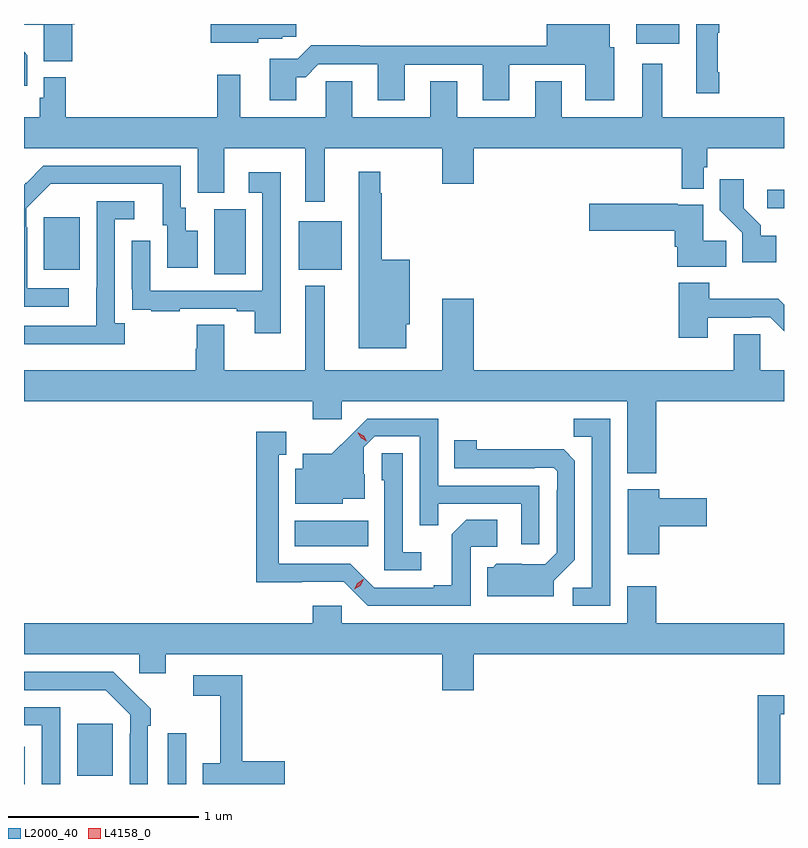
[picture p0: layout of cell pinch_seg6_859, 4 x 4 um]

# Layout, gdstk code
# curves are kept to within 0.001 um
import gdstk
lib = gdstk.Library(unit=1e-6, precision=1e-09)
def R(c, l, rs):  # rectangles x0, y0, x1, y1
    for r in rs: c.add(gdstk.rectangle(r[:2], r[2:], *l))
def P(c, l, *ps):  # polygons
    for p in ps: c.add(gdstk.Polygon(p, *l))
L2000_40 = (2000, 40)
L4158_0 = (4158, 0)

pinch_seg6_859 = lib.new_cell('pinch_seg6_859')
R(pinch_seg6_859, L2000_40, [(138.83,917.35,138.834,917.545), (139.587,917.35,139.683,917.617), (139.109,917.393,139.297,917.668), (140.255,918.602,140.642,918.736), (139.832,920.032,139.996,920.376), (138.935,920.057,139.123,920.332), (140.276,920.057,140.503,920.311), (142.743,920.379,142.83,920.478), (142.052,921.245,142.279,921.35)])
P(pinch_seg6_859, L2000_40, [(139.085,921.348),(139.097,921.348),(139.097,921.35),(138.83,921.35),(138.83,921.346),(138.935,921.346),(138.935,921.155),(139.085,921.155)],
  [(140.064,921.272),(140.19,921.272),(140.19,921.283),(140.263,921.283),(140.263,921.35),(139.814,921.35),(139.814,921.251),(140.064,921.251)],
  [(140.263,921.071),(140.312,921.071),(140.379,921.138),(140.693,921.138),(140.693,920.949),(140.833,920.949),(140.833,921.135),(141.245,921.135),(141.245,920.949),(141.385,920.949),(141.385,921.135),(141.785,921.135),(141.785,920.949),(141.937,920.949),(141.937,921.228),(141.913,921.228),(141.913,921.35),(141.581,921.35),(141.581,921.236),(140.597,921.236),(140.597,921.239),(140.342,921.239),(140.271,921.168),(140.123,921.168),(140.123,920.949),(140.263,920.949)],
  [(142.489,921.097),(142.481,921.097),(142.481,921.303),(142.489,921.303),(142.489,921.35),(142.367,921.35),(142.367,920.985),(142.489,920.985)],
  [(138.848,921.186),(138.83,921.204),(138.83,921.024),(138.848,921.024)],
  [(140.413,920.696),(141.032,920.696),(141.032,920.508),(141.196,920.508),(141.196,920.696),(142.291,920.696),(142.291,920.483),(142.407,920.483),(142.407,920.595),(142.427,920.595),(142.427,920.696),(142.83,920.696),(142.83,920.86),(142.189,920.86),(142.189,921.142),(142.085,921.142),(142.085,920.86),(141.661,920.86),(141.661,921.05),(141.521,921.05),(141.521,920.86),(141.109,920.86),(141.109,921.05),(140.969,921.05),(140.969,920.86),(140.557,920.86),(140.557,921.05),(140.418,921.05),(140.418,920.86),(139.969,920.86),(139.969,921.082),(139.848,921.082),(139.848,920.86),(139.049,920.86),(139.049,921.07),(138.933,921.07),(138.933,920.961),(138.913,920.961),(138.913,920.86),(138.83,920.86),(138.83,920.696),(139.745,920.696),(139.745,920.461),(139.885,920.461),(139.885,920.696),(140.309,920.696),(140.309,920.415),(140.413,920.415)],
  [(139.066,919.959),(138.846,919.959),(138.846,920.279),(138.843,920.279),(138.843,920.379),(138.972,920.508),(139.559,920.508),(139.559,920.292),(139.583,920.292),(139.583,920.067),(139.744,920.067),(139.744,920.263),(139.681,920.263),(139.681,920.382),(139.656,920.382),(139.656,920.604),(138.932,920.604),(138.841,920.513),(138.84,920.514),(138.83,920.504),(138.83,919.863),(139.066,919.863)],
  [(140.842,919.77),(140.86,919.77),(140.86,920.11),(140.713,920.11),(140.713,920.459),(140.705,920.459),(140.705,920.572),(140.591,920.572),(140.591,919.643),(140.842,919.643)],
  [(140.181,920.569),(140.013,920.569),(140.013,920.463),(140.085,920.463),(140.085,919.947),(139.494,919.947),(139.494,920.209),(139.398,920.209),(139.398,919.954),(139.399,919.954),(139.399,919.845),(139.501,919.845),(139.501,919.839),(139.649,919.839),(139.649,919.851),(139.949,919.851),(139.949,919.839),(140.045,919.839),(140.045,919.722),(140.181,919.722)],
  [(142.789,920.236),(142.708,920.236),(142.708,920.291),(142.618,920.381),(142.618,920.533),(142.492,920.533),(142.492,920.37),(142.611,920.251),(142.611,920.096),(142.789,920.096)],
  [(139.36,919.774),(139.308,919.774),(139.308,920.322),(139.411,920.322),(139.411,920.418),(139.212,920.418),(139.212,919.961),(139.211,919.961),(139.211,919.761),(138.83,919.761),(138.83,919.664),(139.36,919.664)],
  [(142.526,920.21),(142.405,920.21),(142.405,920.398),(142.272,920.398),(142.272,920.403),(141.804,920.403),(141.804,920.261),(142.256,920.261),(142.256,920.177),(142.268,920.177),(142.268,920.072),(142.526,920.072)],
  [(142.429,919.803),(142.658,919.803),(142.658,919.806),(142.758,919.806),(142.83,919.734),(142.83,919.872),(142.799,919.903),(142.437,919.903),(142.437,919.987),(142.277,919.987),(142.277,919.698),(142.429,919.698)],
  [(142.157,919.364),(142.83,919.364),(142.83,919.528),(142.704,919.528),(142.704,919.718),(142.565,919.718),(142.565,919.528),(141.196,919.528),(141.196,919.903),(141.032,919.903),(141.032,919.528),(140.413,919.528),(140.413,919.972),(140.309,919.972),(140.309,919.528),(139.885,919.528),(139.885,919.766),(139.738,919.766),(139.738,919.641),(139.733,919.641),(139.733,919.528),(138.83,919.528),(138.83,919.364),(140.351,919.364),(140.351,919.269),(140.502,919.269),(140.502,919.364),(142.004,919.364),(142.004,918.986),(142.157,918.986)],
  [(141.543,918.921),(141.009,918.921),(141.009,919.272),(140.636,919.272),(140.449,919.087),(140.297,919.087),(140.297,919.009),(140.258,919.009),(140.258,918.824),(140.508,918.824),(140.508,918.851),(140.623,918.851),(140.623,918.98),(140.619,918.98),(140.619,919.122),(140.676,919.179),(140.913,919.179),(140.913,918.712),(141.011,918.712),(141.011,918.825),(141.447,918.825),(141.447,918.612),(141.543,918.612)],
  [(141.915,919.272),(141.724,919.272),(141.724,919.177),(141.819,919.177),(141.819,918.384),(141.717,918.384),(141.717,918.288),(141.915,918.288)],
  [(141.18,918.6),(141.322,918.6),(141.322,918.74),(141.157,918.74),(141.081,918.664),(141.081,918.397),(140.987,918.397),(140.987,918.384),(140.673,918.384),(140.547,918.51),(140.17,918.51),(140.17,919.083),(140.209,919.083),(140.209,919.204),(140.052,919.204),(140.052,918.413),(140.514,918.414),(140.64,918.288),(141.18,918.288)],
  [(141.619,918.42),(141.729,918.53),(141.729,919.052),(141.67,919.111),(141.213,919.112),(141.213,919.159),(141.094,919.159),(141.094,919.011),(141.518,919.011),(141.518,919.014),(141.618,919.014),(141.636,918.996),(141.636,918.896),(141.633,918.896),(141.633,918.567),(141.573,918.507),(141.316,918.508),(141.3,918.492),(141.269,918.492),(141.269,918.338),(141.619,918.338)],
  [(140.92,918.571),(140.823,918.571),(140.823,919.091),(140.712,919.091),(140.712,918.948),(140.727,918.948),(140.727,918.474),(140.92,918.474)],
  [(142.174,918.707),(142.423,918.707),(142.423,918.854),(142.174,918.854),(142.174,918.901),(142.007,918.901),(142.007,918.558),(142.174,918.558)],
  [(141.196,918.032),(142.83,918.032),(142.83,918.196),(142.157,918.196),(142.157,918.391),(142.004,918.391),(142.004,918.196),(140.502,918.196),(140.502,918.289),(140.351,918.289),(140.351,918.196),(138.83,918.196),(138.83,918.032),(139.437,918.032),(139.437,917.934),(139.576,917.934),(139.576,918.032),(141.032,918.032),(141.032,917.844),(141.196,917.844)],
  [(139.482,917.657),(139.497,917.657),(139.497,917.745),(139.3,917.94),(138.83,917.94),(138.83,917.844),(139.261,917.844),(139.389,917.715),(139.389,917.615),(139.386,917.615),(139.386,917.35),(139.482,917.35)],
  [(140.203,917.471),(139.979,917.471),(139.979,917.922),(139.722,917.922),(139.722,917.814),(139.862,917.814),(139.862,917.458),(139.772,917.458),(139.772,917.35),(140.203,917.35)],
  [(142.809,917.718),(142.83,917.718),(142.83,917.816),(142.693,917.816),(142.693,917.35),(142.809,917.35)],
  [(139.02,917.754),(138.83,917.754),(138.83,917.658),(138.924,917.658),(138.924,917.35),(139.02,917.35)])
P(pinch_seg6_859, L4158_0, [(140.635,919.154),(140.604,919.17),(140.587,919.2),(140.587,919.2),(140.588,919.2),(140.618,919.184),(140.635,919.155),(140.635,919.154)],
  [(140.568,918.374),(140.568,918.375),(140.585,918.407),(140.616,918.427),(140.617,918.427),(140.617,918.427),(140.6,918.394),(140.568,918.374)])

lib.write_gds('pinch_seg6_859.gds')
